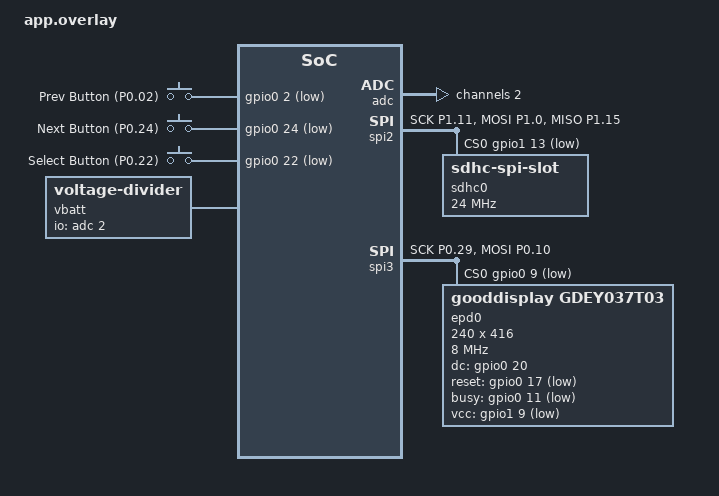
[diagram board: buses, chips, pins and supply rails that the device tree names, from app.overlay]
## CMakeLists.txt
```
cmake_minimum_required(VERSION 3.20.0)

find_package(Zephyr REQUIRED HINTS $ENV{ZEPHYR_BASE})
project(nrf_epd_zephyr)

zephyr_compile_definitions(CONFIG_NFCT_PINS_AS_GPIOS)

target_include_directories(app PRIVATE
    ${CMAKE_CURRENT_SOURCE_DIR}/src
    ${CMAKE_CURRENT_SOURCE_DIR}/drivers/display
    ${CMAKE_CURRENT_SOURCE_DIR}/../src
)

target_sources(app PRIVATE
    src/main.c
    src/display.c
    drivers/display/display_gdey037t03.c
    src/storage.c
    src/buttons.c
    src/ble.c
    src/battery.c
    src/puff.c
    src/epub.c
    src/font_extended.c
)
```

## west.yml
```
manifest:
  remotes:
    - name: zephyrproject-rtos
      url-base: https://github.com/zephyrproject-rtos
    - name: nrfconnect
      url-base: https://github.com/nrfconnect

  projects:
    - name: zephyr
      remote: zephyrproject-rtos
      revision: v3.5.0
      import: true
    - name: nrf
      remote: nrfconnect
      revision: v2.5.0

  self:
    path: app
```

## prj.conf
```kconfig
# Zephyr & nRF Connect SDK Configuration for e-Paper Book Reader

# Kernel & System Options
CONFIG_MAIN_STACK_SIZE=16384
CONFIG_SYSTEM_WORKQUEUE_STACK_SIZE=4096
CONFIG_HEAP_MEM_POOL_SIZE=32768

# Power Management & System OFF Deep Sleep
CONFIG_PM=y
CONFIG_PM_DEVICE=y
CONFIG_POWEROFF=y
CONFIG_REBOOT=y

# Peripheral Drivers
CONFIG_GPIO=y
CONFIG_SPI=y
CONFIG_ADC=y
CONFIG_ADC_ASYNC=y
CONFIG_DISPLAY=y
CONFIG_DISPLAY_GDEY037T03=y

# Disk Access & File Systems
CONFIG_DISK_ACCESS=y
CONFIG_DISK_DRIVERS=y
CONFIG_FILE_SYSTEM=y
CONFIG_FAT_FILESYSTEM_ELM=y
CONFIG_FS_FATFS_LFN=y
CONFIG_FS_FATFS_MAX_LFN=255
CONFIG_FILE_SYSTEM_LITTLEFS=y
CONFIG_FLASH=y
CONFIG_FLASH_MAP=y

# Bluetooth LE Stack
CONFIG_BT=y
CONFIG_BT_PERIPHERAL=y
CONFIG_BT_DEVICE_NAME="nRF EPD Reader"
CONFIG_BT_DEVICE_APPEARANCE=833
CONFIG_BT_BAS=y
CONFIG_BT_DIS=y
CONFIG_BT_DIS_PNP=n
CONFIG_BT_DIS_MANUF="NiceKeyboards"
CONFIG_BT_DIS_MODEL="NiceNano V2"

# Bluetooth Services (Nordic UART Service for Book Upload)
CONFIG_BT_L2CAP_TX_MTU=247
CONFIG_BT_BUF_ACL_RX_SIZE=251
CONFIG_BT_BUF_ACL_TX_SIZE=251

# USB CDC-ACM Serial Console & USB Mass Storage (SD Drive Mode)
CONFIG_USB_DEVICE_STACK=y
CONFIG_USB_MASS_STORAGE=y
CONFIG_MASS_STORAGE_DISK_NAME="SD"
CONFIG_USB_DEVICE_PRODUCT="nRF EPD Reader"
CONFIG_USB_DEVICE_PID=0x0004
CONFIG_USB_DEVICE_INITIALIZE_AT_BOOT=n
CONFIG_USB_DEVICE_STACK_NEXT=n
CONFIG_SERIAL=y
CONFIG_UART_INTERRUPT_DRIVEN=y
CONFIG_UART_LINE_CTRL=y

# Logging & Console
CONFIG_LOG=y
CONFIG_LOG_DEFAULT_LEVEL=1
CONFIG_CONSOLE=y
CONFIG_UART_CONSOLE=y
CONFIG_CBPRINTF_FP_SUPPORT=y
```

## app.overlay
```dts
/ {
    chosen {
        zephyr,console = &board_cdc_acm_uart;
        zephyr,shell-uart = &board_cdc_acm_uart;
        zephyr,code-partition = &code_partition;
    };

    aliases {
        display0 = &epd0;

        btn-prev = &button_prev;
        btn-next = &button_next;
        btn-select = &button_select;
    };

    buttons {
        compatible = "gpio-keys";
        button_prev: button_prev {
            gpios = <&gpio0 2 (GPIO_PULL_UP | GPIO_ACTIVE_LOW)>;
            label = "Prev Button (P0.02)";
        };
        button_next: button_next {
            gpios = <&gpio0 24 (GPIO_PULL_UP | GPIO_ACTIVE_LOW)>;
            label = "Next Button (P0.24)";
        };
        button_select: button_select {
            gpios = <&gpio0 22 (GPIO_PULL_UP | GPIO_ACTIVE_LOW)>;
            label = "Select Button (P0.22)";
        };
    };

    vbatt {
        compatible = "voltage-divider";
        io-channels = <&adc 2>;
        output-ohms = <1000000>;
        full-ohms = <2000000>;
    };
};

&uart0 {
    status = "disabled";
};

&i2c0 {
    status = "disabled";
};

&i2c1 {
    status = "disabled";
};

&pwm0 {
    status = "disabled";
};

&spi1 {
    status = "disabled";
};

/delete-node/ &{/soc/flash-controller@4001e000/flash@0/partitions};

&flash0 {
    partitions {
        compatible = "fixed-partitions";
        #address-cells = <1>;
        #size-cells = <1>;

        boot_partition_mbr: partition@0 {
            label = "MBR";
            read-only;
            reg = <0x00000000 0x00001000>;
        };

        code_partition: partition@1000 {
            label = "Application";
            reg = <0x00001000 0x000eb000>;
        };

        storage_partition: partition@ec000 {
            label = "Storage";
            reg = <0x000ec000 0x00008000>;
        };

        boot_partition: partition@f4000 {
            label = "bootloader";
            read-only;
            reg = <0x000f4000 0x0000c000>;
        };
    };
};

&adc {
    status = "okay";
    #address-cells = <1>;
    #size-cells = <0>;

    channel@2 {
        reg = <2>;
        zephyr,gain = "ADC_GAIN_1_6";
        zephyr,reference = "ADC_REF_INTERNAL";
        zephyr,acquisition-time = <ADC_ACQ_TIME_DEFAULT>;
        zephyr,input-positive = <NRF_SAADC_AIN2>;
        zephyr,resolution = <12>;
    };
};

&spi2 {
    compatible = "nordic,nrf-spim";
    status = "okay";
    pinctrl-0 = <&spi2_default>;
    pinctrl-1 = <&spi2_sleep>;
    pinctrl-names = "default", "sleep";
    cs-gpios = <&gpio1 13 GPIO_ACTIVE_LOW>;

    sdhc0: sdhc@0 {
        compatible = "zephyr,sdhc-spi-slot";
        reg = <0>;
        status = "okay";
        spi-max-frequency = <24000000>;
        mmc {
            compatible = "zephyr,sdmmc-disk";
            disk-name = "SD";
            status = "okay";
        };
    };
};

&spi3 {
    compatible = "nordic,nrf-spim";
    status = "okay";
    pinctrl-0 = <&spi3_default>;
    pinctrl-1 = <&spi3_sleep>;
    pinctrl-names = "default", "sleep";
    cs-gpios = <&gpio0 9 GPIO_ACTIVE_LOW>;

    epd0: gdey037t03@0 {
        compatible = "gooddisplay,gdey037t03";
        reg = <0>;
        spi-max-frequency = <8000000>;
        status = "okay";
        height = <416>;
        width = <240>;
        dc-gpios = <&gpio0 20 GPIO_ACTIVE_HIGH>;
        reset-gpios = <&gpio0 17 GPIO_ACTIVE_LOW>;
        busy-gpios = <&gpio0 11 GPIO_ACTIVE_LOW>;
        vcc-gpios = <&gpio1 9 GPIO_ACTIVE_LOW>;
    };
};

&pinctrl {
    spi2_default: spi2_default {
        group1 {
            psels = <NRF_PSEL(SPIM_SCK, 1, 11)>,
                    <NRF_PSEL(SPIM_MOSI, 1, 0)>,
                    <NRF_PSEL(SPIM_MISO, 1, 15)>;
        };
    };

    spi2_sleep: spi2_sleep {
        group1 {
            psels = <NRF_PSEL(SPIM_SCK, 1, 11)>,
                    <NRF_PSEL(SPIM_MOSI, 1, 0)>,
                    <NRF_PSEL(SPIM_MISO, 1, 15)>;
            low-power-enable;
        };
    };

    spi3_default: spi3_default {
        group1 {
            psels = <NRF_PSEL(SPIM_SCK, 0, 29)>,
                    <NRF_PSEL(SPIM_MOSI, 0, 10)>;
        };
    };

    spi3_sleep: spi3_sleep {
        group1 {
            psels = <NRF_PSEL(SPIM_SCK, 0, 29)>,
                    <NRF_PSEL(SPIM_MOSI, 0, 10)>;
            low-power-enable;
        };
    };
};
```

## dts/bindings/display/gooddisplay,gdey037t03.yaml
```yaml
description: Good Display GDEY037T03 3.7-inch e-Paper display controller (UC8253)

compatible: "gooddisplay,gdey037t03"

include: [display-controller.yaml]

properties:
  dc-gpios:
    type: phandle-array
    required: true
    description: Data/Command control GPIO pin

  reset-gpios:
    type: phandle-array
    required: true
    description: Hardware Reset GPIO pin

  busy-gpios:
    type: phandle-array
    required: true
    description: Hardware Busy status GPIO pin (Active LOW)

  cs-gpios:
    type: phandle-array
    required: true
    description: Chip Select GPIO pin

  mosi-gpios:
    type: phandle-array
    required: true
    description: SPI MOSI GPIO pin

  sck-gpios:
    type: phandle-array
    required: true
    description: SPI SCK GPIO pin

  vcc-gpios:
    type: phandle-array
    required: false
    description: Power rail control GPIO pin (Active LOW MOSFET)
```

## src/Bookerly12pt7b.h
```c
#ifndef BOOKERLY_12PT7B_H
#define BOOKERLY_12PT7B_H

#include "gfxfont.h"

const uint8_t Bookerly12pt7bBitmaps[] PROGMEM = {
    0x39, 0x8C, 0x63, 0x18, 0xC6, 0x31, 0x8C, 0x00, 0x18, 0xC0, 0x6C, 0xD9,
    0xB3, 0x66, 0xC0, 0x00, 0x00, 0x00, 0x00, 0x00, 0x00, 0x00, 0x00, 0x08,
    0x81, 0x10, 0x22, 0x0C, 0xC7, 0xFE, 0x22, 0x04, 0x41, 0x98, 0xFF, 0xC4,
    0x40, 0x88, 0x11, 0x00, 0x04, 0x00, 0x80, 0x3C, 0x0F, 0xC3, 0x58, 0x6B,
    0x0D, 0x00, 0xE0, 0x07, 0x00, 0xB0, 0xD6, 0x1A, 0xC3, 0xF0, 0x3C, 0x01,
    0x00, 0x20, 0x04, 0x00, 0x1C, 0x18, 0x1F, 0x0C, 0x19, 0x8C, 0x0C, 0xC4,
    0x06, 0x66, 0x03, 0x32, 0x71, 0xF2, 0x7C, 0x71, 0x66, 0x01, 0x33, 0x01,
    0x99, 0x80, 0x8C, 0xC0, 0xC7, 0xC0, 0x41, 0xC0, 0x60, 0x00, 0x07, 0x80,
    0x3F, 0x01, 0x8C, 0x06, 0x30, 0x18, 0x80, 0x66, 0x01, 0xC0, 0x0F, 0x7C,
    0x6E, 0x61, 0x99, 0x86, 0x3E, 0x1C, 0x70, 0x3F, 0xFC, 0x7C, 0x70, 0x66,
    0x66, 0x60, 0x00, 0x00, 0x00, 0x00, 0x02, 0x0C, 0x18, 0x18, 0x30, 0x30,
    0x60, 0x60, 0x60, 0x60, 0x60, 0x70, 0x30, 0x38, 0x18, 0x0C, 0x06, 0x60,
    0x30, 0x18, 0x1C, 0x0C, 0x0E, 0x06, 0x06, 0x06, 0x06, 0x06, 0x0C, 0x0C,
    0x18, 0x18, 0x30, 0x60, 0x19, 0xA1, 0xF3, 0x6D, 0x03, 0x00, 0x00, 0x00,
    0x00, 0x00, 0x00, 0x00, 0x04, 0x00, 0x80, 0x10, 0x1F, 0xE0, 0x40, 0x08,
    0x01, 0x00, 0x20, 0x00, 0x00, 0x00, 0x31, 0x8C, 0xC4, 0x00, 0x00, 0x7C,
    0x00, 0x00, 0x00, 0x00, 0x00, 0x63, 0x00, 0x01, 0x81, 0x80, 0xC0, 0xC0,
    0x60, 0x20, 0x30, 0x18, 0x18, 0x0C, 0x0C, 0x06, 0x02, 0x03, 0x00, 0x0F,
    0x07, 0x70, 0xC7, 0x30, 0x66, 0x0C, 0xC1, 0x98, 0x33, 0x06, 0x60, 0xC6,
    0x30, 0xEE, 0x0F, 0x00, 0x06, 0x07, 0xC0, 0x18, 0x03, 0x00, 0x60, 0x0C,
    0x01, 0x80, 0x30, 0x06, 0x00, 0xC0, 0x3E, 0x0F, 0xC0, 0x1F, 0x07, 0xF1,
    0x86, 0x30, 0xC0, 0x18, 0x06, 0x01, 0x80, 0x60, 0x18, 0x06, 0x01, 0xFF,
    0x3F, 0xC0, 0x1E, 0x0F, 0xE1, 0x8C, 0x01, 0x80, 0x70, 0x3C, 0x00, 0xE0,
    0x0C, 0x01, 0x80, 0x71, 0xFC, 0x3E, 0x00, 0x07, 0x00, 0xE0, 0x3C, 0x0D,
    0x83, 0x30, 0x66, 0x18, 0xC3, 0xFE, 0x7F, 0xC0, 0x60, 0x0C, 0x01, 0x80,
    0x3F, 0x87, 0xF0, 0xC0, 0x18, 0x03, 0xE0, 0x1E, 0x00, 0x60, 0x0C, 0x01,
    0x80, 0x71, 0xFC, 0x3E, 0x00, 0x07, 0x81, 0xC0, 0x60, 0x18, 0x03, 0x00,
    0xFE, 0x18, 0xE3, 0x0C, 0x61, 0x8E, 0x30, 0xEC, 0x0F, 0x00, 0x3F, 0xC7,
    0xF8, 0xC6, 0x10, 0xC0, 0x30, 0x06, 0x01, 0x80, 0x30, 0x06, 0x01, 0x80,
    0x30, 0x06, 0x00, 0x1F, 0x07, 0x70, 0xC6, 0x18, 0xC3, 0xB8, 0x3C, 0x07,
    0xC1, 0x8C, 0x60, 0xCC, 0x18, 0xEE, 0x0F, 0x80, 0x1E, 0x06, 0xE1, 0x8E,
    0x30, 0xC6, 0x18, 0xE3, 0x0F, 0xE0, 0x18, 0x03, 0x00, 0xC0, 0x70, 0x3C,
    0x00, 0x63, 0x00, 0x00, 0x00, 0x0C, 0x60, 0x00, 0x31, 0x80, 0x00, 0x00,
    0x06, 0x31, 0x98, 0x80, 0x00, 0x00, 0xC0, 0x70, 0x38, 0x1C, 0x03, 0x80,
    0x1C, 0x00, 0xF0, 0x06, 0x00, 0x00, 0x00, 0x3F, 0x80, 0x00, 0x00, 0x00,
    0x03, 0xF8, 0x00, 0x00, 0x00, 0x00, 0x00, 0x00, 0x60, 0x0F, 0x00, 0x38,
    0x01, 0xC0, 0x38, 0x1C, 0x0E, 0x03, 0x00, 0x00, 0x00, 0x00, 0x78, 0x3F,
    0x01, 0x80, 0x60, 0x30, 0x38, 0xFC, 0x78, 0x30, 0x18, 0x00, 0x00, 0x03,
    0x01, 0x80, 0x03, 0xF0, 0x07, 0x0E, 0x06, 0x01, 0x86, 0x00, 0x62, 0x1E,
    0x33, 0x19, 0x19, 0x88, 0xCC, 0xC3, 0xE6, 0x63, 0x33, 0x31, 0xBF, 0x18,
    0xF7, 0x06, 0x00, 0x03, 0x80, 0x00, 0xF0, 0xC0, 0x1F, 0xC0, 0x03, 0x00,
    0x0E, 0x00, 0x16, 0x00, 0x6C, 0x00, 0xD8, 0x01, 0x18, 0x06, 0x30, 0x0F,
    0xF0, 0x3F, 0xE0, 0x60, 0xC1, 0x80, 0xC3, 0x81, 0x8F, 0x8F, 0xC0, 0xFF,
    0x1F, 0xF0, 0xC6, 0x18, 0xC3, 0x18, 0x7E, 0x0F, 0xE1, 0x8E, 0x30, 0xC6,
    0x18, 0xC7, 0x3F, 0xCF, 0xF0, 0x07, 0xE1, 0xFE, 0x38, 0x63, 0x02, 0x60,
    0x06, 0x00, 0x60, 0x06, 0x00, 0x60, 0x07, 0x00, 0x30, 0x01, 0xFE, 0x0F,
    0xC0, 0xFF, 0x07, 0xFE, 0x0C, 0x38, 0x60, 0xE3, 0x03, 0x18, 0x18, 0xC0,
    0xC6, 0x06, 0x30, 0x31, 0x83, 0x0C, 0x38, 0x7F, 0x8F, 0xF0, 0x00, 0x00,
    0xFF, 0xCF, 0xF8, 0xC1, 0x18, 0x03, 0x00, 0x7F, 0x0F, 0xE1, 0x80, 0x30,
    0x06, 0x08, 0xC1, 0x1F, 0xEF, 0xFC, 0xFF, 0xC7, 0xF8, 0xC1, 0x18, 0x03,
    0x00, 0x60, 0x0F, 0xE1, 0xFC, 0x30, 0x06, 0x00, 0xC0, 0x1C, 0x0F, 0xC0,
    0x07, 0xF0, 0x7F, 0xC3, 0x83, 0x0C, 0x04, 0x60, 0x01, 0x80, 0x06, 0x00,
    0x18, 0x7E, 0x60, 0x71, 0xC0, 0xC3, 0x83, 0x07, 0xFC, 0x0F, 0xE0, 0xFC,
    0xFD, 0xC1, 0xC3, 0x03, 0x0C, 0x0C, 0x30, 0x30, 0xFF, 0xC3, 0xFF, 0x0C,
    0x0C, 0x30, 0x30, 0xC0, 0xC3, 0x03, 0x0E, 0x0E, 0xFC, 0xFC, 0xFD, 0xC3,
    0x0C, 0x30, 0xC3, 0x0C, 0x30, 0xC3, 0x0E, 0xFC, 0x7E, 0x70, 0x60, 0xC1,
    0x83, 0x06, 0x0C, 0x18, 0x30, 0x60, 0xC1, 0x83, 0x0C, 0x78, 0xE0, 0xFC,
    0xF3, 0x83, 0x0C, 0x30, 0x63, 0x03, 0x30, 0x1B, 0x00, 0xF0, 0x06, 0xC0,
    0x37, 0x01, 0x9C, 0x0C, 0x30, 0x70, 0xEF, 0xC3, 0x80, 0xFC, 0x1C, 0x03,
    0x00, 0xC0, 0x30, 0x0C, 0x03, 0x00, 0xC0, 0x30, 0x0C, 0x13, 0x04, 0xFF,
    0xFF, 0xC0, 0x7C, 0x0F, 0x0E, 0x0E, 0x07, 0x05, 0x02, 0xC2, 0x81, 0x63,
    0x40, 0x91, 0x20, 0xCD, 0x98, 0x66, 0x8C, 0x31, 0x46, 0x18, 0xE3, 0x0C,
    0x61, 0x86, 0x10, 0xEF, 0x81, 0xF8, 0xF0, 0x7C, 0xE1, 0xC3, 0x83, 0x0F,
    0x0C, 0x36, 0x30, 0xD8, 0xC3, 0x33, 0x0C, 0x6C, 0x31, 0xB0, 0xC3, 0xC3,
    0x07, 0x0C, 0x1C, 0xF8, 0x30, 0x07, 0xC0, 0x7F, 0x83, 0x87, 0x0C, 0x0E,
    0x60, 0x19, 0x80, 0x66, 0x01, 0x98, 0x06, 0x60, 0x19, 0xC0, 0xC3, 0x87,
    0x07, 0xF8, 0x0F, 0x80, 0xFF, 0x1F, 0xF0, 0xC7, 0x18, 0x63, 0x0C, 0x61,
    0x8C, 0x61, 0xF8, 0x3C, 0x06, 0x00, 0xC0, 0x1C, 0x0F, 0xC0, 0x07, 0xC0,
    0x3F, 0xC0, 0xE1, 0xC1, 0x81, 0xC6, 0x01, 0x8C, 0x03, 0x18, 0x06, 0x30,
    0x0C, 0x60, 0x18, 0xE0, 0x60, 0xE1, 0xC0, 0xFF, 0x00, 0xF8, 0x00, 0x60,
    0x00, 0x70, 0x00, 0x3E, 0x00, 0x3C, 0xFF, 0x0F, 0xF8, 0x31, 0xC3, 0x0C,
    0x30, 0xC3, 0x1C, 0x3F, 0x83, 0xE0, 0x33, 0x03, 0x38, 0x31, 0xC3, 0x8E,
    0xFC, 0x70, 0x1F, 0x0F, 0xE6, 0x19, 0x84, 0x70, 0x0F, 0x01, 0xF0, 0x1E,
    0x21, 0x98, 0x66, 0x19, 0xFC, 0x3E, 0x00, 0x7F, 0xF7, 0xFF, 0xC6, 0x34,
    0x62, 0x06, 0x00, 0x60, 0x06, 0x00, 0x60, 0x06, 0x00, 0x60, 0x06, 0x00,
    0x70, 0x1F, 0x80, 0xFC, 0xFD, 0xC1, 0xC3, 0x03, 0x0C, 0x0C, 0x30, 0x30,
    0xC0, 0xC3, 0x03, 0x0C, 0x0C, 0x30, 0x30, 0xC0, 0xC3, 0x87, 0x07, 0xF8,
    0x0F, 0xC0, 0x7C, 0xF8, 0xE0, 0xC3, 0x03, 0x06, 0x18, 0x18, 0x60, 0x61,
    0x80, 0xCC, 0x03, 0x30, 0x0C, 0x80, 0x1E, 0x00, 0x78, 0x00, 0xC0, 0x03,
    0x00, 0x7C, 0x03, 0xE3, 0x86, 0x1C, 0x30, 0x60, 0xC1, 0x86, 0x08, 0x18,
    0xF1, 0x81, 0x8B, 0x18, 0x08, 0x91, 0x00, 0xD9, 0xB0, 0x0D, 0x9B, 0x00,
    0xD0, 0xB0, 0x07, 0x0E, 0x00, 0x70, 0xE0, 0x06, 0x06, 0x00, 0x7C, 0xF1,
    0x83, 0x86, 0x30, 0x39, 0x80, 0xD8, 0x03, 0x80, 0x1C, 0x00, 0xE0, 0x0D,
    0x80, 0xC6, 0x04, 0x30, 0xF1, 0xEF, 0xDF, 0x80, 0x7C, 0x79, 0xC0, 0xC1,
    0x82, 0x06, 0x18, 0x0C, 0xC0, 0x1B, 0x00, 0x78, 0x00, 0xC0, 0x03, 0x00,
    0x0C, 0x00, 0x30, 0x00, 0xE0, 0x0F, 0xC0, 0x7F, 0xCF, 0xF9, 0x06, 0x21,
    0xC0, 0x30, 0x0C, 0x03, 0x80, 0x60, 0x18, 0x07, 0x08, 0xC1, 0x3F, 0xE7,
    0xFC, 0x00, 0x00, 0x71, 0x04, 0x10, 0x41, 0x04, 0x10, 0x41, 0x04, 0x10,
    0x41, 0x04, 0x10, 0x70, 0x60, 0x10, 0x0C, 0x06, 0x01, 0x80, 0xC0, 0x30,
    0x18, 0x04, 0x03, 0x01, 0x80, 0x60, 0x30, 0x0C, 0x38, 0x20, 0x82, 0x08,
    0x20, 0x82, 0x08, 0x20, 0x82, 0x08, 0x20, 0x82, 0x38, 0x04, 0x01, 0xC0,
    0x28, 0x0D, 0x81, 0x10, 0x22, 0x0C, 0x61, 0x04, 0x00, 0x00, 0x00, 0x00,
    0x00, 0x00, 0x00, 0x7F, 0xC0, 0x00, 0x08, 0x00, 0xC0, 0x06, 0x00, 0x30,
    0x00, 0x00, 0x00, 0x00, 0x00, 0x00, 0x00, 0x00, 0x00, 0x00, 0x00, 0x00,
    0x00, 0x00, 0x00, 0x00, 0x00, 0x1E, 0x1F, 0xC6, 0x30, 0x0C, 0x1F, 0x1C,
    0xC6, 0x31, 0x8C, 0x7F, 0xCE, 0x60, 0x70, 0x0F, 0x00, 0x30, 0x03, 0x00,
    0x30, 0x03, 0x78, 0x3F, 0xC3, 0x0E, 0x30, 0x63, 0x06, 0x30, 0x63, 0x06,
    0x30, 0xC3, 0xFC, 0x3F, 0x00, 0x0F, 0x0F, 0xE3, 0x19, 0x80, 0x60, 0x18,
    0x06, 0x01, 0xC0, 0x3F, 0x87, 0xC0, 0x01, 0xC0, 0x3C, 0x00, 0xC0, 0x0C,
    0x00, 0xC0, 0xFC, 0x3F, 0xC3, 0x0C, 0x60, 0xC6, 0x0C, 0x60, 0xC6, 0x0C,
    0x70, 0xC3, 0xFC, 0x1E, 0xF0, 0x1E, 0x0F, 0xC3, 0x19, 0x86, 0x7F, 0x9F,
    0xE6, 0x01, 0xC0, 0x3F, 0x87, 0xC0, 0x0F, 0x0F, 0xCC, 0x06, 0x03, 0x07,
    0xF3, 0xF8, 0x60, 0x30, 0x18, 0x0C, 0x06, 0x03, 0x01, 0x83, 0xF0, 0x1F,
    0xE7, 0xED, 0x86, 0x30, 0xC6, 0x18, 0xFE, 0x0F, 0x83, 0x00, 0x7F, 0x07,
    0xFB, 0x03, 0x60, 0x6F, 0xF8, 0xFC, 0x00, 0x70, 0x03, 0x00, 0x30, 0x03,
    0x00, 0x30, 0x03, 0x78, 0x3F, 0xC3, 0x0C, 0x30, 0xC3, 0x0C, 0x30, 0xC3,
    0x0C, 0x30, 0xC3, 0x0C, 0xFF, 0xF0, 0x20, 0xC3, 0x00, 0x03, 0xC3, 0x0C,
    0x30, 0xC3, 0x0C, 0x30, 0xCF, 0xC0, 0x10, 0x70, 0x60, 0x00, 0x0F, 0x06,
    0x0C, 0x18, 0x30, 0x60, 0xC1, 0x83, 0x06, 0x0C, 0x38, 0xE3, 0x80, 0x70,
    0x06, 0x00, 0xC0, 0x18, 0x03, 0x00, 0x67, 0x8C, 0x61, 0x98, 0x36, 0x07,
    0x80, 0xD8, 0x1B, 0x83, 0x38, 0x63, 0xBF, 0x38, 0x70, 0xC3, 0x0C, 0x30,
    0xC3, 0x0C, 0x30, 0xC3, 0x0C, 0x30, 0xCF, 0xC0, 0x77, 0x9E, 0x0F, 0xFF,
    0xC3, 0x0C, 0x30, 0xC3, 0x0C, 0x30, 0xC3, 0x0C, 0x30, 0xC3, 0x0C, 0x30,
    0xC3, 0x0C, 0x30, 0xC3, 0x3F, 0xFF, 0xF0, 0x77, 0x83, 0xFC, 0x30, 0xC3,
    0x0C, 0x30, 0xC3, 0x0C, 0x30, 0xC3, 0x0C, 0x30, 0xCF, 0xFF, 0x0F, 0x07,
    0xF0, 0xC7, 0x30, 0x66, 0x0C, 0xC1, 0x98, 0x33, 0x8C, 0x3F, 0x83, 0xC0,
    0x77, 0x83, 0xFC, 0x30, 0xE3, 0x06, 0x30, 0x63, 0x06, 0x30, 0x63, 0x0C,
    0x3F, 0xC3, 0xF0, 0x30, 0x03, 0x00, 0x30, 0x0F, 0xC0, 0x0F, 0xC3, 0xFC,
    0x30, 0xC6, 0x0C, 0x60, 0xC6, 0x0C, 0x60, 0xC7, 0x0C, 0x3F, 0xC1, 0xEC,
    0x00, 0xC0, 0x0C, 0x00, 0xC0, 0x3F, 0x77, 0x7F, 0x38, 0x30, 0x30, 0x30,
    0x30, 0x30, 0x30, 0xFC, 0x3E, 0x3B, 0x98, 0x4E, 0x03, 0xC0, 0x79, 0x0C,
    0x86, 0x77, 0x3E, 0x00, 0x30, 0x30, 0x7E, 0xFE, 0x30, 0x30, 0x30, 0x30,
    0x30, 0x30, 0x3F, 0x1E, 0x73, 0xC3, 0x0C, 0x30, 0xC3, 0x0C, 0x30, 0xC3,
    0x0C, 0x30, 0xC3, 0x0C, 0x3F, 0xC1, 0xEF, 0xF9, 0xE6, 0x0C, 0x70, 0xC3,
    0x18, 0x31, 0x81, 0xB0, 0x1B, 0x00, 0xA0, 0x0E, 0x00, 0xC0, 0xF9, 0x8F,
    0x30, 0xC3, 0x18, 0x61, 0x86, 0x39, 0x83, 0x2C, 0xC1, 0x92, 0x40, 0x69,
    0xA0, 0x3C, 0xF0, 0x0C, 0x30, 0x06, 0x18, 0x00, 0xF3, 0xC6, 0x18, 0x33,
    0x01, 0xA0, 0x1C, 0x00, 0xE0, 0x16, 0x03, 0x30, 0x61, 0x8F, 0x3C, 0xF9,
    0xE6, 0x0C, 0x70, 0xC3, 0x18, 0x31, 0x81, 0xB0, 0x1B, 0x00, 0xA0, 0x0E,
    0x00, 0xC0, 0x0C, 0x01, 0x80, 0xF8, 0x0F, 0x00, 0x7F, 0x9F, 0xE4, 0x30,
    0x18, 0x0C, 0x07, 0x01, 0x88, 0xC2, 0x7F, 0x9F, 0xE0, 0x00, 0x0E, 0x70,
    0xC1, 0x83, 0x06, 0x04, 0x18, 0x60, 0x60, 0x41, 0x83, 0x06, 0x0C, 0x1C,
    0x1E, 0x21, 0x08, 0x42, 0x10, 0x84, 0x21, 0x08, 0x42, 0x10, 0x84, 0xF0,
    0x70, 0x60, 0xC1, 0x83, 0x04, 0x0C, 0x0C, 0x30, 0x40, 0xC1, 0x83, 0x06,
    0x1C, 0xE0, 0x3E, 0xC4, 0x70, 0x00, 0x00, 0x00, 0x00, 0x00, 0x00, 0x00,
    0x00, 0xFF, 0xFF, 0xC0, 0x00, 0x00, 0x00, 0x00, 0x00, 0x00, 0x00, 0x00,
    0x00, 0x00, 0x00, 0x33, 0x11, 0x19, 0x8C, 0xC7, 0x70, 0x00, 0x00, 0x00,
    0x00, 0x00, 0x00, 0x00, 0x00, 0x00, 0x00, 0xEE, 0x33, 0x19, 0x88, 0x8C,
    0xC0, 0x00, 0x00, 0x00, 0x00, 0x00, 0x00, 0x00, 0x00, 0x00, 0xE3, 0x18,
    0x8C, 0x00, 0x00, 0x00, 0x00, 0x00, 0x00, 0x30, 0xC3, 0x0C, 0x30, 0xC0,
    0x00, 0x00
};

const GFXglyph Bookerly12pt7bGlyphs[] PROGMEM = {
    {0, 0, 0, 4, 0, 0}, // 0x20 ' '
    {0, 5, 15, 5, 0, -15}, // 0x21 '!'
    {10, 7, 14, 7, 0, -14}, // 0x22 '"'
    {23, 11, 12, 11, 0, -11}, // 0x23 '#'
    {40, 11, 17, 11, 0, -14}, // 0x24 '$'
    {64, 17, 14, 17, 0, -13}, // 0x25 '%'
    {94, 14, 14, 14, 0, -14}, // 0x26 '&'
    {119, 4, 14, 4, 0, -14}, // 0x27 '''
    {126, 8, 17, 7, 0, -14}, // 0x28 '('
    {143, 8, 17, 7, 0, -14}, // 0x29 ')'
    {160, 7, 13, 7, 0, -13}, // 0x2A '*'
    {172, 11, 10, 11, 0, -10}, // 0x2B '+'
    {186, 5, 7, 5, 0, -3}, // 0x2C ','
    {191, 7, 6, 7, 0, -6}, // 0x2D '-'
    {197, 5, 3, 5, 0, -3}, // 0x2E '.'
    {199, 9, 14, 9, 0, -13}, // 0x2F '/'
    {215, 11, 12, 11, 0, -12}, // 0x30 '0'
    {232, 11, 12, 11, 0, -12}, // 0x31 '1'
    {249, 11, 12, 11, 0, -12}, // 0x32 '2'
    {266, 11, 12, 11, 0, -12}, // 0x33 '3'
    {283, 11, 12, 11, 0, -12}, // 0x34 '4'
    {300, 11, 12, 11, 0, -12}, // 0x35 '5'
    {317, 11, 12, 11, 0, -12}, // 0x36 '6'
    {334, 11, 12, 11, 0, -12}, // 0x37 '7'
    {351, 11, 12, 11, 0, -12}, // 0x38 '8'
    {368, 11, 12, 11, 0, -12}, // 0x39 '9'
    {385, 5, 10, 5, 0, -10}, // 0x3A ':'
    {392, 5, 14, 5, 0, -10}, // 0x3B ';'
    {401, 11, 10, 11, 0, -10}, // 0x3C '<'
    {415, 11, 9, 11, 0, -9}, // 0x3D '='
    {428, 11, 10, 11, 0, -10}, // 0x3E '>'
    {442, 9, 14, 9, 0, -14}, // 0x3F '?'
    {458, 17, 15, 17, 0, -12}, // 0x40 '@'
    {490, 15, 13, 13, -1, -13}, // 0x41 'A'
    {515, 11, 13, 11, 0, -13}, // 0x42 'B'
    {533, 12, 13, 12, 0, -13}, // 0x43 'C'
    {553, 13, 14, 13, 0, -13}, // 0x44 'D'
    {576, 11, 13, 11, 0, -13}, // 0x45 'E'
    {594, 11, 13, 10, 0, -13}, // 0x46 'F'
    {612, 14, 13, 13, 0, -13}, // 0x47 'G'
    {635, 14, 13, 15, 0, -13}, // 0x48 'H'
    {658, 6, 13, 7, 0, -13}, // 0x49 'I'
    {668, 7, 17, 7, -1, -13}, // 0x4A 'J'
    {683, 13, 13, 13, 0, -13}, // 0x4B 'K'
    {705, 10, 13, 11, 0, -13}, // 0x4C 'L'
    {722, 17, 13, 16, 0, -13}, // 0x4D 'M'
    {750, 14, 13, 15, 0, -13}, // 0x4E 'N'
    {773, 14, 13, 14, 0, -13}, // 0x4F 'O'
    {796, 11, 13, 11, 0, -13}, // 0x50 'P'
    {814, 15, 17, 14, 0, -13}, // 0x51 'Q'
    {846, 12, 13, 12, 0, -13}, // 0x52 'R'
    {866, 10, 13, 10, 0, -13}, // 0x53 'S'
    {883, 12, 13, 12, 0, -13}, // 0x54 'T'
    {903, 14, 13, 14, 0, -13}, // 0x55 'U'
    {926, 14, 13, 13, 0, -13}, // 0x56 'V'
    {949, 20, 13, 20, 0, -13}, // 0x57 'W'
    {982, 13, 13, 13, 0, -13}, // 0x58 'X'
    {1004, 14, 13, 12, -1, -13}, // 0x59 'Y'
    {1027, 11, 14, 11, 0, -13}, // 0x5A 'Z'
    {1047, 6, 17, 6, 0, -14}, // 0x5B '['
    {1060, 9, 14, 9, 0, -13}, // 0x5C '\'
    {1076, 6, 17, 6, 0, -14}, // 0x5D ']'
    {1089, 11, 12, 11, 0, -12}, // 0x5E '^'
    {1106, 9, 3, 9, 0, 0}, // 0x5F '_'
    {1110, 12, 15, 12, 0, -15}, // 0x60 '`'
    {1133, 10, 10, 10, 0, -10}, // 0x61 'a'
    {1146, 12, 15, 11, 0, -15}, // 0x62 'b'
    {1169, 10, 10, 9, 0, -10}, // 0x63 'c'
    {1182, 12, 15, 11, 0, -15}, // 0x64 'd'
    {1205, 10, 10, 9, 0, -10}, // 0x65 'e'
    {1218, 9, 15, 7, 0, -15}, // 0x66 'f'
    {1235, 11, 14, 10, 0, -10}, // 0x67 'g'
    {1255, 12, 15, 12, 0, -15}, // 0x68 'h'
    {1278, 6, 15, 6, 0, -15}, // 0x69 'i'
    {1290, 7, 19, 5, -1, -15}, // 0x6A 'j'
    {1307, 11, 15, 11, 0, -15}, // 0x6B 'k'
    {1328, 6, 15, 6, 0, -15}, // 0x6C 'l'
    {1340, 18, 10, 18, 0, -10}, // 0x6D 'm'
    {1363, 12, 10, 12, 0, -10}, // 0x6E 'n'
    {1378, 11, 10, 11, 0, -10}, // 0x6F 'o'
    {1392, 12, 14, 11, 0, -10}, // 0x70 'p'
    {1413, 12, 14, 11, 0, -10}, // 0x71 'q'
    {1434, 8, 10, 8, 0, -10}, // 0x72 'r'
    {1444, 9, 10, 9, 0, -10}, // 0x73 's'
    {1456, 8, 12, 7, 0, -12}, // 0x74 't'
    {1468, 12, 10, 12, 0, -10}, // 0x75 'u'
    {1483, 12, 10, 11, -1, -10}, // 0x76 'v'
    {1498, 17, 10, 16, -1, -10}, // 0x77 'w'
    {1520, 12, 10, 11, -1, -10}, // 0x78 'x'
    {1535, 12, 14, 11, -1, -10}, // 0x79 'y'
    {1556, 10, 11, 9, 0, -10}, // 0x7A 'z'
    {1570, 7, 17, 7, 0, -14}, // 0x7B '{'
    {1585, 5, 16, 5, 0, -14}, // 0x7C '|'
    {1595, 7, 17, 7, 0, -14}, // 0x7D '}'
    {1610, 11, 8, 11, 0, -8}, // 0x7E '~'
    {1621, 18, 6, 18, 0, -6}, // 0x7F '—'
    {1635, 9, 14, 8, 0, -14}, // 0x80 '“'
    {1651, 9, 13, 8, -1, -13}, // 0x81 '”'
    {1666, 5, 13, 4, -1, -13}, // 0x82 '’'
    {1675, 18, 3, 18, 0, -3}, // 0x83 '…'
};

const GFXfont Bookerly12pt7b PROGMEM = {
    (uint8_t *)Bookerly12pt7bBitmaps,
    (GFXglyph *)Bookerly12pt7bGlyphs,
    0x20, 0x83,
    25
};

#endif // BOOKERLY_12PT7B_H
```

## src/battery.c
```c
#include "battery.h"
#include <zephyr/drivers/adc.h>
#include <zephyr/logging/log.h>

LOG_MODULE_REGISTER(battery, LOG_LEVEL_INF);

static const struct adc_dt_spec adc_channel = ADC_DT_SPEC_GET_BY_IDX(DT_PATH(vbatt), 0);

int battery_init(void) {
    if (!adc_is_ready_dt(&adc_channel)) {
        LOG_ERR("ADC device not ready");
        return -ENODEV;
    }

    int err = adc_channel_setup_dt(&adc_channel);
    if (err) {
        LOG_ERR("ADC channel setup failed (err %d)", err);
        return err;
    }

    LOG_INF("Battery ADC initialized.");
    return 0;
}

uint16_t battery_read_mv(void) {
    int16_t sample_buffer;
    struct adc_sequence sequence = {
        .buffer = &sample_buffer,
        .buffer_size = sizeof(sample_buffer),
    };

    int err = adc_sequence_init_dt(&adc_channel, &sequence);
    if (err) {
        return 3700;
    }

    err = adc_read_dt(&adc_channel, &sequence);
    if (err) {
        LOG_ERR("ADC read failed (err %d)", err);
        return 3700; // Default fallback (3.7V)
    }

    int32_t val_mv = sample_buffer;
    adc_raw_to_millivolts_dt(&adc_channel, &val_mv);

    // Apply 1/2 resistor divider multiplier (x2)
    return (uint16_t)(val_mv * 2);
}

uint8_t battery_get_percentage(void) {
    uint16_t mv = battery_read_mv();
    if (mv >= 4200) return 100;
    if (mv <= 3300) return 0;

    // Linear mapping between 3.3V (0%) and 4.2V (100%)
    return (uint8_t)(((mv - 3300) * 100) / (4200 - 3300));
}
```

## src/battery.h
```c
#ifndef BATTERY_H
#define BATTERY_H

#include "config.h"

int battery_init(void);
uint16_t battery_read_mv(void);
uint8_t battery_get_percentage(void);
uint8_t battery_get_percentage_from_mv(uint16_t mv);

#endif // BATTERY_H
```

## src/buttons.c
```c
#include "buttons.h"
#include <zephyr/drivers/gpio.h>
#include <zephyr/logging/log.h>
#include <hal/nrf_gpio.h>

LOG_MODULE_REGISTER(buttons, LOG_LEVEL_INF);

static const struct gpio_dt_spec btn_prev   = GPIO_DT_SPEC_GET_OR(DT_ALIAS(btn_prev), gpios, {0});
static const struct gpio_dt_spec btn_next   = GPIO_DT_SPEC_GET_OR(DT_ALIAS(btn_next), gpios, {0});
static const struct gpio_dt_spec btn_select = GPIO_DT_SPEC_GET_OR(DT_ALIAS(btn_select), gpios, {0});

static struct gpio_callback cb_prev;
static struct gpio_callback cb_next;
static struct gpio_callback cb_select;

static volatile ButtonEvent pending_event = BTN_EVENT_NONE;
static uint32_t last_prev_press_time = 0;
static uint32_t last_next_press_time = 0;
static uint32_t last_select_press_time = 0;

static void button_isr(const struct device *dev, struct gpio_callback *cb, uint32_t pins) {
    uint32_t now = k_uptime_get_32();

    if (pins & BIT(btn_prev.pin)) {
        if (now - last_prev_press_time >= 350) {
            last_prev_press_time = now;
            pending_event = BTN_EVENT_PREV_CLICK;
        }
    } else if (pins & BIT(btn_next.pin)) {
        if (now - last_next_press_time >= 350) {
            last_next_press_time = now;
            pending_event = BTN_EVENT_NEXT_CLICK;
        }
    } else if (pins & BIT(btn_select.pin)) {
        if (now - last_select_press_time >= 350) {
            if (last_select_press_time > 0 && (now - last_select_press_time < 600)) {
                pending_event = BTN_EVENT_SELECT_DOUBLE_CLICK;
                last_select_press_time = 0;
            } else {
                pending_event = BTN_EVENT_SELECT_CLICK;
                last_select_press_time = now;
            }
        }
    }
}

int buttons_init(void) {
    last_prev_press_time = 0;
    last_next_press_time = 0;
    last_select_press_time = 0;

    if (btn_prev.port) {
        gpio_pin_configure_dt(&btn_prev, GPIO_INPUT | GPIO_PULL_UP);
        gpio_pin_interrupt_configure_dt(&btn_prev, GPIO_INT_EDGE_TO_ACTIVE);
        gpio_init_callback(&cb_prev, button_isr, BIT(btn_prev.pin));
        gpio_add_callback(btn_prev.port, &cb_prev);
    }

    if (btn_next.port) {
        gpio_pin_configure_dt(&btn_next, GPIO_INPUT | GPIO_PULL_UP);
        gpio_pin_interrupt_configure_dt(&btn_next, GPIO_INT_EDGE_TO_ACTIVE);
        gpio_init_callback(&cb_next, button_isr, BIT(btn_next.pin));
        gpio_add_callback(btn_next.port, &cb_next);
    }

    if (btn_select.port) {
        gpio_pin_configure_dt(&btn_select, GPIO_INPUT | GPIO_PULL_UP);
        gpio_pin_interrupt_configure_dt(&btn_select, GPIO_INT_EDGE_TO_ACTIVE);
        gpio_init_callback(&cb_select, button_isr, BIT(btn_select.pin));
        gpio_add_callback(btn_select.port, &cb_select);
    }

    LOG_INF("Buttons subsystem initialized with 350ms per-pin debounce.");
    return 0;
}

ButtonEvent buttons_poll(void) {
    // Check for long press on select button
    if (btn_select.port && gpio_pin_get_dt(&btn_select) == 1) { // Pressed (ACTIVE_LOW)
        if (last_select_press_time > 0 && (k_uptime_get_32() - last_select_press_time > 5000)) {
            last_select_press_time = 0;
            return BTN_EVENT_SELECT_LONG_PRESS;
        }
    }

    ButtonEvent evt = pending_event;
    pending_event = BTN_EVENT_NONE;
    return evt;
}

void buttons_configure_sleep_wake(void) {
    // Configure nRF GPIO Sense Low for deep sleep wake-up on button press
    nrf_gpio_cfg_sense_input(NRF_GPIO_PIN_MAP(0, 2), NRF_GPIO_PIN_PULLUP, NRF_GPIO_PIN_SENSE_LOW);  // Prev (P0.02)
    nrf_gpio_cfg_sense_input(NRF_GPIO_PIN_MAP(0, 24), NRF_GPIO_PIN_PULLUP, NRF_GPIO_PIN_SENSE_LOW); // Next (P0.24)
    nrf_gpio_cfg_sense_input(NRF_GPIO_PIN_MAP(0, 22), NRF_GPIO_PIN_PULLUP, NRF_GPIO_PIN_SENSE_LOW); // Select (P0.22)
    LOG_INF("GPIO sense wake configured for deep sleep.");
}
```

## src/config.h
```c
#ifndef CONFIG_H
#define CONFIG_H

#include <zephyr/kernel.h>
#include <stdbool.h>
#include <stdint.h>

// --- E-Paper Display Dimensions (GDEY037T03 3.7" E-Paper) ---
#define EPD_PHYS_WIDTH  240
#define EPD_PHYS_HEIGHT 416
#define EPD_BUFFER_SIZE ((EPD_PHYS_WIDTH * EPD_PHYS_HEIGHT) / 8) // 12,480 bytes

// Logical Landscape UI Dimensions
#define EPD_WIDTH  416
#define EPD_HEIGHT 240

// --- System Settings ---
#define MAX_BOOKS 10
#define MAX_CHAPTERS 100
#define HISTORY_SIZE 64
#define AUTO_SLEEP_MS 300000 // 5 minutes inactivity timeout
#define EPD_FULL_REFRESH_INTERVAL 20

// Path mountpoints
#define SD_MOUNT_POINT "/SD:"
#define LFS_MOUNT_POINT "/lfs:"
#define BOOK_DIR "/SD:/books"
#define PROGRESS_FILE "/SD:/progress.dat"
#define STATS_FILE "/SD:/stats.dat"

#endif // CONFIG_H
```

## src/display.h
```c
#ifndef DISPLAY_H
#define DISPLAY_H

#include "config.h"
#include <stdbool.h>
#include <stdint.h>
#include <stddef.h>

typedef enum {
    FONT_SERIF,     // Bookerly
    FONT_SANS,      // Amazon Ember
    FONT_LITERATA,  // Literata
    FONT_ATKINSON   // Atkinson Hyperlegible
} FontType;

typedef enum {
    SIZE_SMALL,     // 9pt
    SIZE_MEDIUM,    // 12pt
    SIZE_LARGE      // 18pt
} FontSize;

typedef enum {
    SPACING_COMPACT,
    SPACING_NORMAL,
    SPACING_RELAXED
} LineSpacing;

typedef enum {
    CONTRAST_NORMAL,
    CONTRAST_INVERTED
} ContrastMode;

// Display API
int display_init(void);
void display_power_on(void);
void display_power_off(void);
void display_app_clear(void);
void display_update(bool full_refresh);
void display_set_flipped(bool flipped);
bool display_is_flipped(void);

// Framebuffer drawing helpers
void display_draw_pixel(int x, int y, uint8_t color);
void display_fill_rect(int x, int y, int w, int h, uint8_t color);
void display_draw_rect(int x, int y, int w, int h, uint8_t color);
void display_draw_line(int x0, int y0, int x1, int y1, uint8_t color);
void display_draw_string(int x, int y, const char *str, uint8_t color);

// Views
void display_draw_menu(const char *header, const char **options, int count, int selected_idx);
void display_draw_menu_ext(const char *header, const char *sub_footer, const char **options, int count, int selected_idx);
void display_draw_message(const char *title, const char *msg, bool is_alert);
void display_draw_progress(const char *task, int percentage);
void display_draw_lockscreen(const char *book_name, const char *title, const char *author, uint32_t progress_pct);
void display_draw_atkinson_dithered(int dst_x, int dst_y, int target_w, int target_h, const uint8_t *gray_img, int img_w, int img_h);
uint32_t display_draw_reader_page(const char *book_name, const char *text_page, uint32_t progress_pct);

// Font/Settings accessors & manipulators
FontType display_get_font(void);
void display_set_font(FontType font);
void display_cycle_font(void);

FontSize display_get_size(void);
void display_set_size(FontSize size);
void display_cycle_size(void);

LineSpacing display_get_spacing(void);
void display_set_spacing(LineSpacing spacing);
void display_cycle_spacing(void);

ContrastMode display_get_contrast(void);
void display_app_clear(void);
void display_app_set_contrast(ContrastMode mode);
void display_cycle_contrast(void);

void display_draw_battery(int percent);
void display_clear_buffer(void);

#endif // DISPLAY_H
```

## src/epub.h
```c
#ifndef EPUB_H
#define EPUB_H

#include <stdbool.h>
#include <stdint.h>
#include <stddef.h>

#define MAX_EPUB_CHAPTERS 128

typedef struct {
    char chapter_path[128];
    char title[64];
    uint16_t compression_method; // 0 = store, 8 = deflate
    uint32_t payload_offset;
    uint32_t compressed_size;
    uint32_t uncompressed_size;
    uint32_t text_length;        // Processed plain text length
    uint32_t cum_offset;         // Cumulative text offset from start of book
} EpubChapterInfo;

typedef struct {
    char cover_path[128];
    uint16_t compression_method; // 0 = store, 8 = deflate
    uint32_t payload_offset;
    uint32_t compressed_size;
    uint32_t uncompressed_size;
    bool found;
} EpubCoverInfo;

typedef struct {
    char book_path[256];
    char title[128];
    char author[128];
    int chapter_count;
    int current_chapter_idx;
    uint32_t total_book_text_len;
    EpubCoverInfo cover;
    EpubChapterInfo chapters[MAX_EPUB_CHAPTERS];
} EpubBook;

// EPUB API
bool epub_scan_chapters(const char *epub_path, EpubBook *book);
bool epub_read_chapter_text(const char *epub_path, const EpubChapterInfo *chap_info, char *text_out, uint32_t text_max_len);
bool epub_read_book_offset(EpubBook *book, uint32_t global_offset, char *page_buf, size_t buf_size, uint32_t *bytes_read);
bool epub_extract_cover_image(const char *epub_path, uint8_t *gray_out, int target_w, int target_h);

#endif // EPUB_H
```

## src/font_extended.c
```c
#include "font_extended.h"
#include <zephyr/fs/fs.h>
#include <zephyr/logging/log.h>
#include <string.h>
#include <stddef.h>

LOG_MODULE_REGISTER(font_sd, LOG_LEVEL_INF);

#define MAX_SD_GLYPH_INDEX 512

static struct fs_file_t s_font_file;
static bool s_sd_font_loaded = false;
static SdFontHeader s_font_hdr;
static SdGlyphIndexEntry s_glyph_index[MAX_SD_GLYPH_INDEX];
static uint16_t s_glyph_count = 0;

static GFXglyph s_cached_gfx_glyph;
static uint8_t s_cached_bitmap[128];

bool font_sd_load(const char *font_path) {
    if (!font_path || font_path[0] == '\0') return false;

    if (s_sd_font_loaded) {
        font_sd_unload();
    }

    fs_file_t_init(&s_font_file);
    int res = fs_open(&s_font_file, font_path, FS_O_READ);
    if (res != 0) {
        LOG_WRN("Failed to open SD font file: %s (err %d)", font_path, res);
        return false;
    }

    ssize_t r = fs_read(&s_font_file, &s_font_hdr, sizeof(SdFontHeader));
    if (r < sizeof(SdFontHeader) || memcmp(s_font_hdr.magic, "SDFN", 4) != 0) {
        LOG_ERR("Invalid SD font header/magic in file: %s", font_path);
        fs_close(&s_font_file);
        return false;
    }

    s_glyph_count = s_font_hdr.glyph_count;
    if (s_glyph_count > MAX_SD_GLYPH_INDEX) {
        s_glyph_count = MAX_SD_GLYPH_INDEX;
    }

    size_t idx_bytes = s_glyph_count * sizeof(SdGlyphIndexEntry);
    ssize_t ir = fs_read(&s_font_file, s_glyph_index, idx_bytes);
    if (ir < (ssize_t)idx_bytes) {
        LOG_ERR("Failed to read glyph index table from SD font: %s", font_path);
        fs_close(&s_font_file);
        return false;
    }

    s_sd_font_loaded = true;
    LOG_INF("Loaded SD font '%s': %u glyphs, size %upt, styles 0x%02X",
            font_path, s_glyph_count, s_font_hdr.font_size, s_font_hdr.style_flags);
    return true;
}

void font_sd_unload(void) {
    if (s_sd_font_loaded) {
        fs_close(&s_font_file);
        s_sd_font_loaded = false;
        s_glyph_count = 0;
        LOG_INF("Unloaded SD font");
    }
}

bool font_sd_is_active(void) {
    return s_sd_font_loaded;
}

static const GFXglyph *font_sd_lookup_glyph(uint32_t cp, uint8_t style_id, const uint8_t **out_bitmap) {
    if (!s_sd_font_loaded || s_glyph_count == 0) return NULL;

    uint32_t target_key = (cp & 0x3FFFFFFF) | (((uint32_t)style_id & 0x03) << 30);
    uint32_t fallback_key = (cp & 0x3FFFFFFF); // Style 0 (Regular)

    int match_idx = -1;

    // Binary search index table
    int low = 0, high = s_glyph_count - 1;
    while (low <= high) {
        int mid = (low + high) / 2;
        uint32_t key = s_glyph_index[mid].cp_style_encoded;
        if (key == target_key) {
            match_idx = mid;
            break;
        } else if (key < target_key) {
            low = mid + 1;
        } else {
            high = mid - 1;
        }
    }

    // Fallback to Regular style if target style not found
    if (match_idx < 0 && style_id != 0) {
        low = 0; high = s_glyph_count - 1;
        while (low <= high) {
            int mid = (low + high) / 2;
            uint32_t key = s_glyph_index[mid].cp_style_encoded;
            if (key == fallback_key) {
                match_idx = mid;
                break;
            } else if (key < fallback_key) {
                low = mid + 1;
            } else {
                high = mid - 1;
            }
        }
    }

    if (match_idx < 0) return NULL;

    uint32_t offset = s_glyph_index[match_idx].file_offset;
    fs_seek(&s_font_file, offset, FS_SEEK_SET);

    SdGlyphRecordHeader rec_hdr;
    if (fs_read(&s_font_file, &rec_hdr, sizeof(SdGlyphRecordHeader)) < sizeof(SdGlyphRecordHeader)) {
        return NULL;
    }

    uint16_t bm_len = rec_hdr.bitmap_len;
    if (bm_len > sizeof(s_cached_bitmap)) {
        bm_len = sizeof(s_cached_bitmap);
    }

    fs_read(&s_font_file, s_cached_bitmap, bm_len);

    s_cached_gfx_glyph.bitmapOffset = 0;
    s_cached_gfx_glyph.width        = rec_hdr.width;
    s_cached_gfx_glyph.height       = rec_hdr.height;
    s_cached_gfx_glyph.xAdvance     = rec_hdr.xAdvance;
    s_cached_gfx_glyph.xOffset      = rec_hdr.xOffset;
    s_cached_gfx_glyph.yOffset      = rec_hdr.yOffset;

    if (out_bitmap) {
        *out_bitmap = s_cached_bitmap;
    }
    return &s_cached_gfx_glyph;
}

const GFXglyph *font_get_glyph_styled(uint32_t cp, bool is_bold, bool is_italic, const GFXfont *font, const uint8_t **out_bitmap) {
    uint8_t style_id = 0;
    if (is_bold && is_italic) style_id = 3;
    else if (is_italic) style_id = 2;
    else if (is_bold) style_id = 1;

    if (s_sd_font_loaded) {
        const GFXglyph *g = font_sd_lookup_glyph(cp, style_id, out_bitmap);
        if (g) return g;
    }

    if (font && cp >= font->first && cp <= font->last) {
        if (out_bitmap) *out_bitmap = font->bitmap;
        return &font->glyph[cp - font->first];
    }

    return NULL;
}

const GFXglyph *font_get_glyph(uint32_t cp, const GFXfont *font, const uint8_t **out_bitmap) {
    return font_get_glyph_styled(cp, false, false, font, out_bitmap);
}
```

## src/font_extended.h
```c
#ifndef FONT_EXTENDED_H
#define FONT_EXTENDED_H

#include "gfxfont.h"
#include <stdint.h>
#include <stdbool.h>

typedef struct {
    uint32_t code_point;
    GFXglyph glyph;
} GFXExtendedGlyph;

typedef struct {
    const uint8_t *bitmap;
    const GFXExtendedGlyph *glyphs;
    uint16_t count;
} GFXExtendedFont;

const GFXglyph *font_get_glyph(uint32_t cp, const GFXfont *font, const uint8_t **out_bitmap);

#endif // FONT_EXTENDED_H
```

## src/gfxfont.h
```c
#ifndef GFXFONT_H
#define GFXFONT_H

#include <stdint.h>

#ifndef PROGMEM
#define PROGMEM
#endif

typedef struct {
    uint16_t bitmapOffset; // Pointer into GFXfont->bitmap
    uint8_t  width;        // Bitmap dimensions in pixels
    uint8_t  height;
    uint8_t  xAdvance;     // Distance to advance cursor (x axis)
    int8_t   xOffset;      // X dist from cursor pos to UL corner
    int8_t   yOffset;      // Y dist from cursor pos to UL corner
} GFXglyph;

typedef struct {
    uint8_t  *bitmap;      // Glyph bitmaps, concatenated
    GFXglyph *glyph;       // Glyph array
    uint16_t  first;       // ASCII extents (first char)
    uint16_t  last;        // ASCII extents (last char)
    uint8_t   yAdvance;    // Newline distance (y axis)
} GFXfont;

#endif // GFXFONT_H
```
